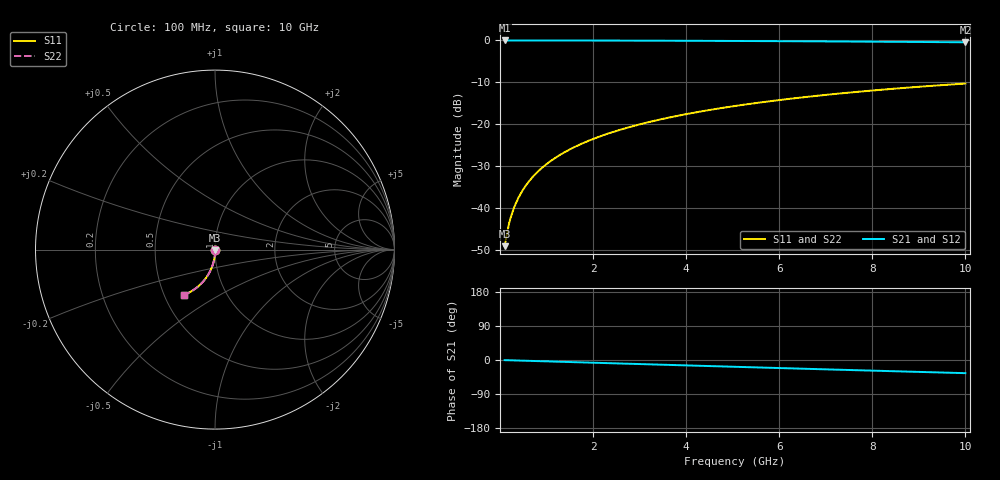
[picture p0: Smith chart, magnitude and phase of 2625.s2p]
# Hz S RI R 50.00
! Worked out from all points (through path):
!   100 points, 100 MHz to 10 GHz, reference 50 ohm
!   highest |S21| = -0.01 dB at 100 MHz (marker M1); lowest = -0.4 dB at 10 GHz (marker M2)
!   group delay of S21, straight-line fit = 9.66 ps
!   lowest |S11| = -49.0 dB at 100 MHz (marker M3), VSWR 1.01, Z = 50.1 - j0.337 ohm
!   |S11| at or under -10 dB: start of sweep to end of sweep
!   |S22| runs from -49.0 to -10.3 dB; largest |S21 - S12| = 0
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1e8  0.00109 -0.00336  0.9989 -0.00624  0.9989 -0.00624  0.00109 -0.00336
2e8  0.00103 -0.00672  0.9988 -0.0125  0.9988 -0.0125  0.00103 -0.00672
3e8  0.000925 -0.0101  0.9986 -0.0187  0.9986 -0.0187  0.000925 -0.0101
4e8  0.000779 -0.0134  0.9984 -0.0249  0.9984 -0.0249  0.000779 -0.0134
5e8  0.000589 -0.0168  0.9982 -0.0312  0.9982 -0.0312  0.000589 -0.0168
6e8  0.000358 -0.0201  0.9979 -0.0374  0.9979 -0.0374  0.000358 -0.0201
7e8  8.44e-05 -0.0235  0.9976 -0.0436  0.9976 -0.0436  8.44e-05 -0.0235
8e8  -0.000231 -0.0268  0.9972 -0.0498  0.9972 -0.0498  -0.000231 -0.0268
9e8  -0.000588 -0.0302  0.9968 -0.0561  0.9968 -0.0561  -0.000588 -0.0302
1.1e9  -0.00143 -0.0368  0.9958 -0.0685  0.9958 -0.0685  -0.00143 -0.0368
1.4e9  -0.003 -0.0468  0.9939 -0.087  0.9939 -0.087  -0.003 -0.0468
1.8e9  -0.00567 -0.0599  0.9907 -0.1117  0.9907 -0.1117  -0.00567 -0.0599
2.1e9  -0.00809 -0.0697  0.9877 -0.1301  0.9877 -0.1301  -0.00809 -0.0697
2.5e9  -0.0119 -0.0825  0.9832 -0.1544  0.9832 -0.1544  -0.0119 -0.0825
2.9e9  -0.0163 -0.0951  0.9778 -0.1785  0.9778 -0.1785  -0.0163 -0.0951
3.4e9  -0.0227 -0.1105  0.9701 -0.2083  0.9701 -0.2083  -0.0227 -0.1105
4.2e9  -0.0347 -0.1342  0.9555 -0.255  0.9555 -0.255  -0.0347 -0.1342
5.1e9  -0.0509 -0.159  0.9358 -0.3058  0.9358 -0.3058  -0.0509 -0.159
5.9e9  -0.0674 -0.1793  0.9156 -0.3493  0.9156 -0.3493  -0.0674 -0.1793
6.7e9  -0.0855 -0.1978  0.8931 -0.3909  0.8931 -0.3909  -0.0855 -0.1978
8.4e9  -0.1288 -0.2304  0.8387 -0.4727  0.8387 -0.4727  -0.1288 -0.2304
1e10  -0.1736 -0.2522  0.781 -0.541  0.781 -0.541  -0.1736 -0.2522
